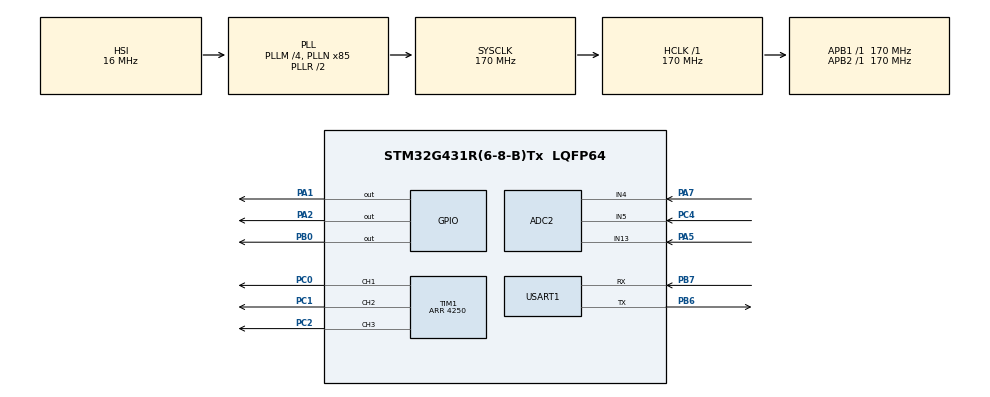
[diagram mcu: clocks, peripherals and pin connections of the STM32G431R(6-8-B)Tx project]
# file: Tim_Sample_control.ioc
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ADC2.Channel-1\#ChannelRegularConversion=ADC_CHANNEL_4
ADC2.Channel-2\#ChannelRegularConversion=ADC_CHANNEL_5
ADC2.Channel-3\#ChannelRegularConversion=ADC_CHANNEL_13
ADC2.ContinuousConvMode=ENABLE
ADC2.DMAContinuousRequests=ENABLE
ADC2.ExternalTrigConv=ADC_EXTERNALTRIG_T1_TRGO
ADC2.NbrOfConversion=3
ADC2.NbrOfConversionFlag=1
ADC2.OffsetNumber-1\#ChannelRegularConversion=ADC_OFFSET_NONE
ADC2.OffsetNumber-2\#ChannelRegularConversion=ADC_OFFSET_NONE
ADC2.OffsetNumber-3\#ChannelRegularConversion=ADC_OFFSET_NONE
ADC2.OversamplingMode=DISABLE
ADC2.Rank-1\#ChannelRegularConversion=1
ADC2.Rank-2\#ChannelRegularConversion=2
ADC2.Rank-3\#ChannelRegularConversion=3
ADC2.SamplingTime-1\#ChannelRegularConversion=ADC_SAMPLETIME_12CYCLES_5
ADC2.SamplingTime-2\#ChannelRegularConversion=ADC_SAMPLETIME_12CYCLES_5
ADC2.SamplingTime-3\#ChannelRegularConversion=ADC_SAMPLETIME_12CYCLES_5
Dma.ADC2.0.Direction=DMA_PERIPH_TO_MEMORY
Dma.ADC2.0.EventEnable=DISABLE
Dma.ADC2.0.Instance=DMA1_Channel1
Dma.ADC2.0.MemDataAlignment=DMA_MDATAALIGN_HALFWORD
Dma.ADC2.0.MemInc=DMA_MINC_ENABLE
Dma.ADC2.0.Mode=DMA_CIRCULAR
Dma.ADC2.0.PeriphDataAlignment=DMA_PDATAALIGN_HALFWORD
Dma.ADC2.0.PeriphInc=DMA_PINC_DISABLE
Dma.ADC2.0.Polarity=HAL_DMAMUX_REQ_GEN_RISING
Dma.ADC2.0.Priority=DMA_PRIORITY_LOW
Dma.ADC2.0.RequestNumber=1
Dma.ADC2.0.SignalID=NONE
Dma.ADC2.0.SyncEnable=DISABLE
Dma.ADC2.0.SyncPolarity=HAL_DMAMUX_SYNC_NO_EVENT
Dma.ADC2.0.SyncRequestNumber=1
Dma.ADC2.0.SyncSignalID=NONE
Dma.Request0=ADC2
Mcu.Family=STM32G4
Mcu.Name=STM32G431R(6-8-B)Tx
Mcu.Package=LQFP64
NVIC.ADC1_2_IRQn=true\:1\:0\:true\:false\:true\:true\:true\:true
NVIC.DMA1_Channel1_IRQn=true\:0\:0\:false\:false\:true\:false\:true\:true
NVIC.PriorityGroup=NVIC_PRIORITYGROUP_4
NVIC.TIM1_CC_IRQn=true\:1\:0\:true\:false\:true\:true\:true\:true
NVIC.TIM1_TRG_COM_TIM17_IRQn=true\:0\:0\:false\:false\:true\:true\:true\:true
PA1.PinState=GPIO_PIN_SET
PA1.Signal=GPIO_Output
PA13.Mode=Serial_Wire
PA13.Signal=SYS_JTMS-SWDIO
PA14.Mode=Serial_Wire
PA14.Signal=SYS_JTCK-SWCLK
PA2.PinState=GPIO_PIN_SET
PA2.Signal=GPIO_Output
PA5.Mode=IN13-Single-Ended
PA5.Signal=ADC2_IN13
PA7.Mode=IN4-Single-Ended
PA7.Signal=ADC2_IN4
PB0.PinState=GPIO_PIN_SET
PB0.Signal=GPIO_Output
PB6.Mode=Asynchronous
PB6.Signal=USART1_TX
PB7.Mode=Asynchronous
PB7.Signal=USART1_RX
PC0.Signal=S_TIM1_CH1
PC1.Signal=S_TIM1_CH2
PC2.Signal=S_TIM1_CH3
PC4.Mode=IN5-Single-Ended
PC4.Signal=ADC2_IN5
PF0-OSC_IN.Mode=HSE-External-Oscillator
PF0-OSC_IN.Signal=RCC_OSC_IN
PF1-OSC_OUT.Mode=HSE-External-Oscillator
PF1-OSC_OUT.Signal=RCC_OSC_OUT
ProjectManager.HeapSize=0x200
ProjectManager.StackSize=0x400
ProjectManager.TargetToolchain=MDK-ARM V5.32
RCC.ADC12Freq_Value=170000000
RCC.AHBFreq_Value=170000000
RCC.APB1Freq_Value=170000000
RCC.APB1TimFreq_Value=170000000
RCC.APB2Freq_Value=170000000
RCC.APB2TimFreq_Value=170000000
RCC.CortexFreq_Value=170000000
RCC.EXTERNAL_CLOCK_VALUE=12288000
RCC.HCLKFreq_Value=170000000
RCC.HSE_VALUE=16000000
RCC.HSI48_VALUE=48000000
RCC.HSI_VALUE=16000000
RCC.LSE_VALUE=32768
RCC.PLLM=RCC_PLLM_DIV4
RCC.PLLN=85
RCC.SYSCLKFreq_VALUE=170000000
RCC.SYSCLKSource=RCC_SYSCLKSOURCE_PLLCLK
RCC.USBFreq_Value=170000000
RCC.VCOOutputFreq_Value=340000000
SH.S_TIM1_CH1.0=TIM1_CH1,PWM Generation1 CH1
SH.S_TIM1_CH2.0=TIM1_CH2,PWM Generation2 CH2
SH.S_TIM1_CH3.0=TIM1_CH3,PWM Generation3 CH3
TIM1.Channel-Output\ Compare4\ No\ Output=TIM_CHANNEL_4
TIM1.Channel-PWM\ Generation1\ CH1=TIM_CHANNEL_1
TIM1.Channel-PWM\ Generation2\ CH2=TIM_CHANNEL_2
TIM1.Channel-PWM\ Generation3\ CH3=TIM_CHANNEL_3
TIM1.CounterMode=TIM_COUNTERMODE_CENTERALIGNED1
TIM1.PeriodNoDither=4250
TIM1.TIM_MasterOutputTrigger=TIM_TRGO_UPDATE
TIM1.TIM_MasterOutputTrigger2=TIM_TRGO2_RESET
USART1.VirtualMode-Asynchronous=VM_ASYNC
VP_SYS_VS_DBSignals.Mode=DisableDeadBatterySignals
VP_TIM1_VS_ClockSourceINT.Mode=Internal
VP_TIM1_VS_no_output4.Mode=Output Compare4 No Output
board=custom

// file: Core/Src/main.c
/* USER CODE BEGIN Header */
/**
  ******************************************************************************
  * @file           : main.c
  * @brief          : Main program body
  ******************************************************************************
  * @attention
  *
  * Copyright (c) 2026 STMicroelectronics.
  * All rights reserved.
  *
  * This software is licensed under terms that can be found in the LICENSE file
  * in the root directory of this software component.
  * If no LICENSE file comes with this software, it is provided AS-IS.
  *
  ******************************************************************************
  */
/* USER CODE END Header */
#include "main.h"
#include "adc.h"
#include "dma.h"
#include "tim.h"
#include "usart.h"
#include "gpio.h"

/* USER CODE BEGIN Includes */
#include "stdio.h"
#include "six_step.h"

/* USER CODE END Includes */

/* USER CODE BEGIN PTD */
uint16_t Adc[3]={0};

uint16_t pwm_cout=0;
uint8_t step=0;

/* ================= 起步(开环)参数 ================= */
uint8_t  DutyOpen = 10;   /* 起步占空比: 要小! 开环低速时电流 = 占空比xVbus/(2R), 大了就爆 */
uint16_t StepMs   = 5;    /* 开环每步时间 ms */

/* ================= 运行(闭环)参数 ================= */
uint8_t  DutyRun  = 5;   /* 闭环目标占空比: 原来是 36. 先试 45, 稳了再往 55/65 加 */

/* ================= 换相时序参数(必须和 tim.c 对得上) =================
 * TIM1: 170MHz, 中心对齐, ARR=4250 -> PWM 20kHz(周期 50us)
 * CH4(CCR=1) 每周期中断 2 次 -> 1 count = 25us
 * -------------------------------------------------------------------- */
#define BLANK_TICKS   3     /* 消隐: 3*25us = 75us  (原来是 5 = 125us, 太长) */
#define ZC_LAG        1     /* ZC检测的固有滞后(ADC扫描周期): 提前 1*25us 换相, 可微调 */
#define T60_MIN       8     /* 一步时间的合理下限, 防噪声误判 */
#define T60_INIT      200   /* 进闭环首步的默认周期 = 5ms(和开环 StepMs 一致) */
#define STALL_TICKS   200   /* 一步超 200*25us=5ms 没换相 = 失步 (原来 2000=50ms) */
#define FAULT_LIMIT   20    /* 连续自救这么多次还不行 = 真堵转, 停机 */
#define DUTY_MAX      90    /* 硬件安全上限: EG2104 是自举驱动, 占空比太高时下桥导通时间
                               太短, 自举电容补不上电, 上桥栅压会掉下去(进线性区发热) */
uint8_t  DutyNow  = 10;    /* 当前实际占空比(进闭环后从 DutyOpen 慢慢升到 DutyRun) */
uint8_t  RampDiv  = 6;    /* 几次换相升1%: 数字越大升得越慢(升不上去/失步就加大) */
uint8_t  RampCnt  = 0;    /* 升压节拍 */

/* ================= 以下不用改 ================= */
uint16_t T60       = 0;  /* 上一步的 60 度时间(counts), 由换相间隔测得, 不受消隐影响 */
uint16_t zc_at     = 0;  /* 本步过零点出现的时刻(相对上次换相) */
uint16_t FaultCnt  = 0;  /* 连续失步自救次数 */
uint16_t zc_cnt    = 0;  /* 开环阶段攒到的过零次数 */
uint8_t  FlagBEMF  = 0;  /* 闭环: 这一步是否已经检测到过零 */
uint8_t  zc_flag   = 0;  /* 开环: 这一步里有没有看到过零 */
uint8_t  i         = 0;  /* 循环用 */

/* USER CODE END PTD */

void SystemClock_Config(void);

/* USER CODE BEGIN 0 */
/* 换到下一相: 步进 / 下发占空比 / 计时清零 */
static void Commutate(uint8_t duty)
{
	step++;
	if(step>=6) step=0;
	six_step_control(step, duty);
	pwm_cout = 0;
	FlagBEMF = 0;
}

/* USER CODE END 0 */

int main(void)
{

  /* MCU Configuration--------------------------------------------------------*/

  /* Reset of all peripherals, Initializes the Flash interface and the Systick. */
  HAL_Init();

  /* Configure the system clock */
  SystemClock_Config();

  /* Initialize all configured peripherals */
  MX_GPIO_Init();
  MX_DMA_Init();
  MX_TIM1_Init();
  MX_USART1_UART_Init();
  MX_ADC2_Init();
  /* USER CODE BEGIN 2 */
 HAL_TIM_Base_Start(&htim1);
 HAL_TIM_OC_Start_IT(&htim1,TIM_CHANNEL_4);

 TIM1->CCR4=1;                                //每次计数到1就中断, 频率最高

 HAL_ADCEx_Calibration_Start(&hadc2,ADC_SINGLE_ENDED);
 HAL_ADC_Start_DMA(&hadc2,(uint32_t*)Adc,3);   // 长度=通道数3 (写4会让Adc[]相位每轮错位)

HAL_TIM_PWM_Start(&htim1, TIM_CHANNEL_1);
HAL_TIM_PWM_Start(&htim1, TIM_CHANNEL_2);
HAL_TIM_PWM_Start(&htim1, TIM_CHANNEL_3);

uint8_t  State=0;          /* 0=开环计数  1=闭环 */
six_step_control(0,10);    /* 预定位 */
HAL_Delay(200);
pwm_cout=0;
  /* USER CODE END 2 */

  /* Infinite loop */
  /* USER CODE BEGIN WHILE */
  while (1)
  {
	switch(State)
	{
	case 0:   /* ---------- 开环: 定时换相, 边转边数过零 ---------- */
		zc_flag = 0;
		for(i=0;i<StepMs;i++)          /* 一步切成 StepMs 个 1ms, 边转边采样 */
		{
			HAL_Delay(1);
			if(zc_flag==0 && BEMF_Check(step)) zc_flag=1;
		}
		if(zc_flag) zc_cnt++;

		Commutate(DutyOpen);

		if(zc_cnt>=20)                 /* 攒够 20 次过零 = 信号稳了, 进闭环 */
		{
			zc_cnt=0; FlagBEMF=0;
			DutyNow=DutyOpen; RampCnt=0;
			State++;
		}
		break;

	case 1:   /* ---------- 闭环: 过零 -> 再等半个60° -> 换相 ---------- */
		if(FlagBEMF==0 && pwm_cout>=BLANK_TICKS && BEMF_Check(step))
		{
			FlagBEMF = 1;
			zc_at    = pwm_cout;       /* 消隐后检测到过零, 记下时刻 */
		}
		/* 换相点 = 过零时刻 + T60/2; T60 取"上一步的换相间隔", 与消隐无关 */
		if(FlagBEMF && (uint16_t)(pwm_cout+ZC_LAG) >= (uint16_t)(zc_at + (T60?T60:T60_INIT)/2))
		{
			if(pwm_cout>T60_MIN) T60 = T60 ? (uint16_t)((T60*3+pwm_cout)>>2) : pwm_cout;
			Commutate(DutyNow);
			FaultCnt = 0;

			/* 升压斜坡: 每 RampDiv 次换相升 1%, 慢慢升到 DutyRun */
			if(DutyNow<DutyRun && DutyNow<DUTY_MAX && ++RampCnt>=RampDiv)
			{
				RampCnt = 0;
				DutyNow++;
			}
		}
		/* 过零一直不来 = 失步: 强制换相自救(超时取上一步周期的2倍, 最低5ms)
		   不能无条件用 STALL_TICKS, 否则转速低、一步超过 5ms 时会把正常换相当成失步 */
		else if(FlagBEMF==0 && pwm_cout > (T60*2 > STALL_TICKS ? T60*2 : STALL_TICKS))
		{
			Commutate(DutyNow);
			if(++FaultCnt > FAULT_LIMIT) MotorStop();
		}
		break;

	}

    /* USER COD0E END WHILE */

  }
}
void SystemClock_Config(void)
{
  RCC_OscInitTypeDef RCC_OscInitStruct = {0};
  RCC_ClkInitTypeDef RCC_ClkInitStruct = {0};

  /** Configure the main internal regulator output voltage
  */
  HAL_PWREx_ControlVoltageScaling(PWR_REGULATOR_VOLTAGE_SCALE1_BOOST);

  /** Initializes the RCC Oscillators according to the specified parameters
  * in the RCC_OscInitTypeDef structure.
  */
  RCC_OscInitStruct.OscillatorType = RCC_OSCILLATORTYPE_HSI;
  RCC_OscInitStruct.HSIState = RCC_HSI_ON;
  RCC_OscInitStruct.HSICalibrationValue = RCC_HSICALIBRATION_DEFAULT;
  RCC_OscInitStruct.PLL.PLLState = RCC_PLL_ON;
  RCC_OscInitStruct.PLL.PLLSource = RCC_PLLSOURCE_HSI;
  RCC_OscInitStruct.PLL.PLLM = RCC_PLLM_DIV4;
  RCC_OscInitStruct.PLL.PLLN = 85;
  RCC_OscInitStruct.PLL.PLLP = RCC_PLLP_DIV2;
  RCC_OscInitStruct.PLL.PLLQ = RCC_PLLQ_DIV2;
  RCC_OscInitStruct.PLL.PLLR = RCC_PLLR_DIV2;
  if (HAL_RCC_OscConfig(&RCC_OscInitStruct) != HAL_OK)
  {
    Error_Handler();
  }

  /** Initializes the CPU, AHB and APB buses clocks
  */
  RCC_ClkInitStruct.ClockType = RCC_CLOCKTYPE_HCLK|RCC_CLOCKTYPE_SYSCLK
                              |RCC_CLOCKTYPE_PCLK1|RCC_CLOCKTYPE_PCLK2;
  RCC_ClkInitStruct.SYSCLKSource = RCC_SYSCLKSOURCE_PLLCLK;
  RCC_ClkInitStruct.AHBCLKDivider = RCC_SYSCLK_DIV1;
  RCC_ClkInitStruct.APB1CLKDivider = RCC_HCLK_DIV1;
  RCC_ClkInitStruct.APB2CLKDivider = RCC_HCLK_DIV1;

  if (HAL_RCC_ClockConfig(&RCC_ClkInitStruct, FLASH_LATENCY_4) != HAL_OK)
  {
    Error_Handler();
  }
}

/* USER CODE BEGIN 4 */
//串口重定向
#ifdef __GNUC__
int __io_putchar(int ch)
#else
int fputc(int ch, FILE *f)
#endif
{
    HAL_UART_Transmit(&huart1, (uint8_t *)&ch, 1, HAL_MAX_DELAY);
    return ch;
}

void HAL_TIM_OC_DelayElapsedCallback(TIM_HandleTypeDef *htim)
{
	if(htim->Instance==TIM1)
	{
		pwm_cout++;
	}
}
/* USER CODE END 4 */

void Error_Handler(void)
{
  __disable_irq();
  while (1)
  {
  }
}
